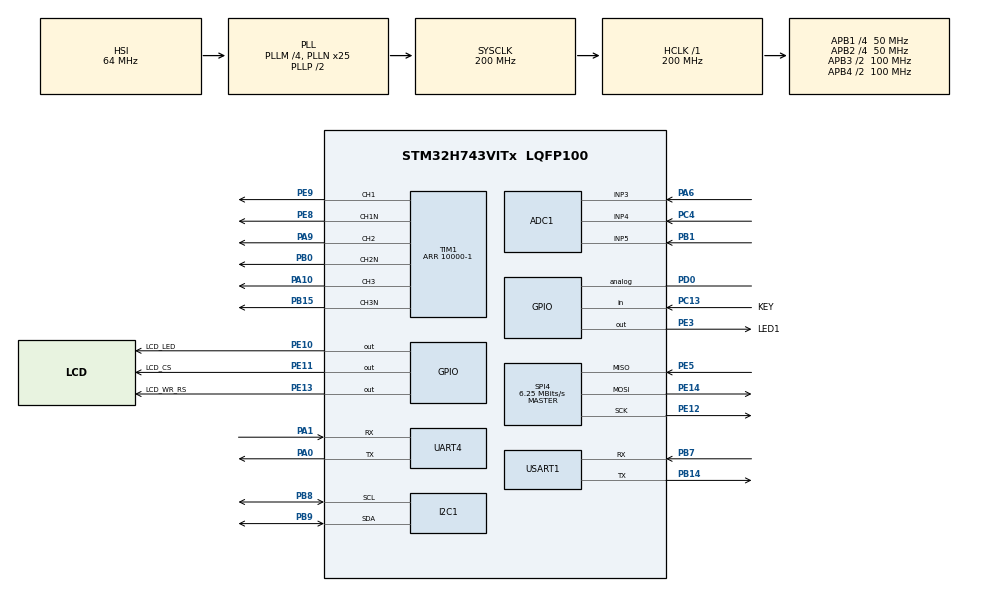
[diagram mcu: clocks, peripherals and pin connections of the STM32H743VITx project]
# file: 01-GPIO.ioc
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ADC1.Channel-0\#ChannelRegularConversion=ADC_CHANNEL_3
ADC1.Channel-1\#ChannelRegularConversion=ADC_CHANNEL_4
ADC1.Channel-2\#ChannelRegularConversion=ADC_CHANNEL_5
ADC1.ContinuousConvMode=ENABLE
ADC1.ExternalTrigConv=ADC_SOFTWARE_START
ADC1.NbrOfConversion=3
ADC1.NbrOfConversionFlag=1
ADC1.OffsetNumber-0\#ChannelRegularConversion=ADC_OFFSET_NONE
ADC1.OffsetNumber-1\#ChannelRegularConversion=ADC_OFFSET_NONE
ADC1.OffsetNumber-2\#ChannelRegularConversion=ADC_OFFSET_NONE
ADC1.OffsetSignedSaturation-0\#ChannelRegularConversion=DISABLE
ADC1.OffsetSignedSaturation-1\#ChannelRegularConversion=DISABLE
ADC1.OffsetSignedSaturation-2\#ChannelRegularConversion=DISABLE
ADC1.Rank-0\#ChannelRegularConversion=1
ADC1.Rank-1\#ChannelRegularConversion=2
ADC1.Rank-2\#ChannelRegularConversion=3
ADC1.SamplingTime-0\#ChannelRegularConversion=ADC_SAMPLETIME_1CYCLE_5
ADC1.SamplingTime-1\#ChannelRegularConversion=ADC_SAMPLETIME_1CYCLE_5
ADC1.SamplingTime-2\#ChannelRegularConversion=ADC_SAMPLETIME_1CYCLE_5
ADC1.master=1
CORTEX_M7.CPU_DCache=Enabled
CORTEX_M7.CPU_ICache=Enabled
I2C1.CustomTiming=Enabled
I2C1.Timing=0x40000A0B
Mcu.Family=STM32H7
Mcu.Name=STM32H743VITx
Mcu.Package=LQFP100
NVIC.PriorityGroup=NVIC_PRIORITYGROUP_4
PA0.Mode=Asynchronous
PA0.Signal=UART4_TX
PA1.Mode=Asynchronous
PA1.Signal=UART4_RX
PA10.Signal=S_TIM1_CH3
PA13\ (JTMS/SWDIO).Mode=Serial_Wire
PA13\ (JTMS/SWDIO).Signal=DEBUG_JTMS-SWDIO
PA14\ (JTCK/SWCLK).Mode=Serial_Wire
PA14\ (JTCK/SWCLK).Signal=DEBUG_JTCK-SWCLK
PA6.Signal=ADCx_INP3
PA9.Signal=S_TIM1_CH2
PB0.Mode=PWM Generation2 CH2 CH2N
PB0.Signal=TIM1_CH2N
PB1.Signal=ADCx_INP5
PB14.Mode=Asynchronous
PB14.Signal=USART1_TX
PB15.Mode=PWM Generation3 CH3 CH3N
PB15.Signal=TIM1_CH3N
PB7.Mode=Asynchronous
PB7.Signal=USART1_RX
PB8.Mode=I2C
PB8.Signal=I2C1_SCL
PB9.Mode=I2C
PB9.Signal=I2C1_SDA
PC13.GPIO_Label=KEY
PC13.GPIO_PuPd=GPIO_PULLDOWN
PC13.Signal=GPIO_Input
PC14-OSC32_IN\ (OSC32_IN).Mode=LSE-External-Oscillator
PC14-OSC32_IN\ (OSC32_IN).Signal=RCC_OSC32_IN
PC15-OSC32_OUT\ (OSC32_OUT).Mode=LSE-External-Oscillator
PC15-OSC32_OUT\ (OSC32_OUT).Signal=RCC_OSC32_OUT
PC4.Signal=ADCx_INP4
PD0.Signal=GPIO_Analog
PE10.GPIO_Label=LCD_LED
PE10.Signal=GPIO_Output
PE11.GPIO_Label=LCD_CS
PE11.GPIO_Speed=GPIO_SPEED_FREQ_VERY_HIGH
PE11.Signal=GPIO_Output
PE12.Mode=Full_Duplex_Master
PE12.Signal=SPI4_SCK
PE13.GPIO_Label=LCD_WR_RS
PE13.GPIO_Speed=GPIO_SPEED_FREQ_VERY_HIGH
PE13.Signal=GPIO_Output
PE14.Mode=Full_Duplex_Master
PE14.Signal=SPI4_MOSI
PE3.GPIO_Label=LED1
PE3.Signal=GPIO_Output
PE5.Mode=Full_Duplex_Master
PE5.Signal=SPI4_MISO
PE8.Mode=PWM Generation1 CH1 CH1N
PE8.Signal=TIM1_CH1N
PE9.Signal=S_TIM1_CH1
PH0-OSC_IN\ (PH0).Mode=HSE-External-Oscillator
PH0-OSC_IN\ (PH0).Signal=RCC_OSC_IN
PH1-OSC_OUT\ (PH1).Mode=HSE-External-Oscillator
PH1-OSC_OUT\ (PH1).Signal=RCC_OSC_OUT
ProjectManager.HeapSize=0x800
ProjectManager.StackSize=0x1600
ProjectManager.TargetToolchain=MDK-ARM V5.32
RCC.ADCFreq_Value=80000000
RCC.APB1Freq_Value=50000000
RCC.APB2Freq_Value=50000000
RCC.APB3Freq_Value=100000000
RCC.APB4Freq_Value=100000000
RCC.CortexFreq_Value=200000000
RCC.D1PPRE=RCC_APB3_DIV2
RCC.D2PPRE1=RCC_APB1_DIV4
RCC.D2PPRE2=RCC_APB2_DIV4
RCC.D3PPRE=RCC_APB4_DIV2
RCC.DIVM1=4
RCC.DIVM2=4
RCC.DIVN1=25
RCC.DIVN2=10
RCC.HCLKFreq_Value=200000000
RCC.HSE_VALUE=24000000
RCC.PLL2FRACN=0
RCC.PLLFRACN=0
RCC.SYSCLKFreq_VALUE=200000000
RCC.SYSCLKSource=RCC_SYSCLKSOURCE_PLLCLK
RCC.SupplySource=PWR_LDO_SUPPLY
RCC.USBFreq_Value=200000000
SH.ADCx_INP3.0=ADC1_INP3,IN3-Single-Ended
SH.ADCx_INP4.0=ADC1_INP4,IN4-Single-Ended
SH.ADCx_INP5.0=ADC1_INP5,IN5-Single-Ended
SH.S_TIM1_CH1.0=TIM1_CH1,PWM Generation1 CH1 CH1N
SH.S_TIM1_CH2.0=TIM1_CH2,PWM Generation2 CH2 CH2N
SH.S_TIM1_CH3.0=TIM1_CH3,PWM Generation3 CH3 CH3N
SPI4.BaudRatePrescaler=SPI_BAUDRATEPRESCALER_8
SPI4.CalculateBaudRate=6.25 MBits/s
SPI4.DataSize=SPI_DATASIZE_8BIT
SPI4.Direction=SPI_DIRECTION_2LINES
SPI4.Mode=SPI_MODE_MASTER
SPI4.VirtualType=VM_MASTER
TIM1.AutoReloadPreload=TIM_AUTORELOAD_PRELOAD_ENABLE
TIM1.Channel-PWM\ Generation1\ CH1\ CH1N=TIM_CHANNEL_1
TIM1.Channel-PWM\ Generation2\ CH2\ CH2N=TIM_CHANNEL_2
TIM1.Channel-PWM\ Generation3\ CH3\ CH3N=TIM_CHANNEL_3
TIM1.Channel-PWM\ Generation4\ No\ Output=TIM_CHANNEL_4
TIM1.CounterMode=TIM_COUNTERMODE_CENTERALIGNED1
TIM1.DeadTime=50
TIM1.LockLevel=TIM_LOCKLEVEL_1
TIM1.OffStateIDLEMode=TIM_OSSI_ENABLE
TIM1.OffStateRunMode=TIM_OSSR_ENABLE
TIM1.Period=10000-1
TIM1.TIM_MasterOutputTrigger=TIM_TRGO_OC4REF
USART1.VirtualMode-Asynchronous=VM_ASYNC
VP_MEMORYMAP_VS_MEMORYMAP.Mode=CurAppReg
VP_RNG_VS_RNG.Mode=RNG_Activate
VP_TIM1_VS_ClockSourceINT.Mode=Internal
VP_TIM1_VS_no_output4.Mode=PWM Generation4 No Output
VP_TIM2_VS_ClockSourceINT.Mode=Internal
board=custom

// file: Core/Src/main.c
/* USER CODE BEGIN Header */
/**
  ******************************************************************************
  * @file           : main.c
  * @brief          : Main program body
  ******************************************************************************
  * @attention
  *
  * <h2><center>&copy; Copyright (c) 2020 STMicroelectronics.
  * All rights reserved.</center></h2>
  *
  * This software component is licensed by ST under BSD 3-Clause license,
  * the "License"; You may not use this file except in compliance with the
  * License. You may obtain a copy of the License at:
  *                        opensource.org/licenses/BSD-3-Clause
  *
  ******************************************************************************
  */
/* USER CODE END Header */
#include "main.h"
#include "adc.h"
#include "i2c.h"
#include "rng.h"
#include "spi.h"
#include "tim.h"
#include "usart.h"
#include "gpio.h"

/* USER CODE BEGIN Includes */
#include "bsp_as5600.h"
#include "stm32h7xx_hal.h"
#include "lcd.h"
/* USER CODE END Includes */

/* USER CODE BEGIN PM */
uint32_t pwm_compare = 2000;
/* USER CODE END PM */

/* USER CODE BEGIN PV */
uint32_t	angle_raw;
uint32_t angle;
/* USER CODE END PV */

void SystemClock_Config(void);

/* USER CODE BEGIN 0 */
static void MPU_Config(void)
{
  MPU_Region_InitTypeDef MPU_InitStruct = {0};

  /* Disables the MPU */
  HAL_MPU_Disable();

	/* Configure the MPU attributes for the QSPI 256MB without instruction access */
  MPU_InitStruct.Enable           = MPU_REGION_ENABLE;
	MPU_InitStruct.Number           = MPU_REGION_NUMBER0;
  MPU_InitStruct.BaseAddress      = QSPI_BASE;
  MPU_InitStruct.Size             = MPU_REGION_SIZE_256MB;
  MPU_InitStruct.AccessPermission = MPU_REGION_NO_ACCESS;
  MPU_InitStruct.IsBufferable     = MPU_ACCESS_NOT_BUFFERABLE;
  MPU_InitStruct.IsCacheable      = MPU_ACCESS_NOT_CACHEABLE;
  MPU_InitStruct.IsShareable      = MPU_ACCESS_NOT_SHAREABLE;
	MPU_InitStruct.DisableExec      = MPU_INSTRUCTION_ACCESS_DISABLE;
  MPU_InitStruct.TypeExtField     = MPU_TEX_LEVEL1;
  MPU_InitStruct.SubRegionDisable = 0x00;
  HAL_MPU_ConfigRegion(&MPU_InitStruct);

  /* Configure the MPU attributes for the QSPI 8MB (QSPI Flash Size) to Cacheable WT */
  MPU_InitStruct.Enable           = MPU_REGION_ENABLE;
	MPU_InitStruct.Number           = MPU_REGION_NUMBER1;
  MPU_InitStruct.BaseAddress      = QSPI_BASE;
  MPU_InitStruct.Size             = MPU_REGION_SIZE_8MB;
  MPU_InitStruct.AccessPermission = MPU_REGION_PRIV_RO;
  MPU_InitStruct.IsBufferable     = MPU_ACCESS_BUFFERABLE;
  MPU_InitStruct.IsCacheable      = MPU_ACCESS_CACHEABLE;
  MPU_InitStruct.IsShareable      = MPU_ACCESS_NOT_SHAREABLE;
	MPU_InitStruct.DisableExec      = MPU_INSTRUCTION_ACCESS_ENABLE;
  MPU_InitStruct.TypeExtField     = MPU_TEX_LEVEL1;
  MPU_InitStruct.SubRegionDisable = 0x00;
  HAL_MPU_ConfigRegion(&MPU_InitStruct);

  /* Enables the MPU */
  HAL_MPU_Enable(MPU_PRIVILEGED_DEFAULT);
}

static void CPU_CACHE_Enable(void)
{
  /* Enable I-Cache */
  SCB_EnableICache();

  /* Enable D-Cache */
  SCB_EnableDCache();
}

/* USER CODE END 0 */

int main(void)
{

  /* USER CODE BEGIN 1 */

	#ifdef W25Qxx
		SCB->VTOR = QSPI_BASE;
	#endif
	MPU_Config();
	CPU_CACHE_Enable();

  /* USER CODE END 1 */

  /* Enable the CPU Cache */

  /* Enable I-Cache---------------------------------------------------------*/
  SCB_EnableICache();

  /* Enable D-Cache---------------------------------------------------------*/
  SCB_EnableDCache();

  /* MCU Configuration--------------------------------------------------------*/

  /* Reset of all peripherals, Initializes the Flash interface and the Systick. */
  HAL_Init();

  /* Configure the system clock */
  SystemClock_Config();

  /* Initialize all configured peripherals */
  MX_GPIO_Init();
  MX_RNG_Init();
  MX_ADC1_Init();
  MX_I2C1_Init();
  MX_SPI4_Init();
  MX_TIM1_Init();
  MX_UART4_Init();
  MX_USART1_UART_Init();
  MX_TIM2_Init();
  /* USER CODE BEGIN 2 */
	uint32_t rng;
	bsp_as5600Init();
	LCD_Test();
     HAL_TIM_PWM_Start(&htim1, TIM_CHANNEL_1);
      HAL_TIM_PWM_Start(&htim1, TIM_CHANNEL_2);
			 HAL_TIM_PWM_Start(&htim1, TIM_CHANNEL_3);
       HAL_TIMEx_PWMN_Start(&htim1, TIM_CHANNEL_1);
       HAL_TIMEx_PWMN_Start(&htim1, TIM_CHANNEL_2);
        HAL_TIMEx_PWMN_Start(&htim1, TIM_CHANNEL_3);

  /* USER CODE END 2 */

  /* Infinite loop */
  while (1)
  {

    /* USER CODE BEGIN 3 */
		uint8_t text[20];
		HAL_RNG_GenerateRandomNumber(&hrng,&rng);
		//*(uint32_t*)0x10000000=rng;

		angle_raw = bsp_as5600GetRawAngle();
    angle = bsp_as5600GetAngle();
//		uint8_t data[2];
//		HAL_StatusTypeDef status = HAL_I2C_Master_Receive(&AS5600_I2C_HANDLE, 0x36<<1, data, 2, 10);
		//HAL_GPIO_TogglePin(LED1_GPIO_Port,LED1_Pin);
		//HAL_GPIO_WritePin(LCD_LED_GPIO_Port,LCD_LED_Pin,GPIO_PIN_SET);
		//HAL_GPIO_TogglePin(LCD_LED_GPIO_Port,LCD_LED_Pin);
		sprintf((char *)&text, "angle=%5u",angle_raw);
		LCD_ShowString(4, 4, ST7735Ctx.Width, 16, 16, text);

	  HAL_ADC_Start(&hadc1);
    HAL_ADC_PollForConversion(&hadc1, 50);
    uint32_t adc_value = HAL_ADC_GetValue(&hadc1);
		HAL_ADC_Stop(&hadc1);
		float voltage = (float)adc_value *5.03547e-5;
    sprintf((char *)&text, "ADC=%.6fV", voltage);
    LCD_ShowString(4, 22, ST7735Ctx.Width, 16, 16, text);

	HAL_Delay(10);

     __HAL_TIM_SetCompare(&htim1, TIM_CHANNEL_1,pwm_compare);
     __HAL_TIM_SetCompare(&htim1, TIM_CHANNEL_2,pwm_compare);
//__HAL_TIM_SetCompare(&htim1, TIM_CHANNEL_3,pwm_compare);
    // HAL_TIM_PWM_Start(&htim2, TIM_CHANNEL_1);

  }
  /* USER CODE END 3 */
}

void SystemClock_Config(void)
{
  RCC_OscInitTypeDef RCC_OscInitStruct = {0};
  RCC_ClkInitTypeDef RCC_ClkInitStruct = {0};

  /** Supply configuration update enable
  */
  HAL_PWREx_ConfigSupply(PWR_LDO_SUPPLY);

  /** Configure the main internal regulator output voltage
  */
  __HAL_PWR_VOLTAGESCALING_CONFIG(PWR_REGULATOR_VOLTAGE_SCALE3);

  while(!__HAL_PWR_GET_FLAG(PWR_FLAG_VOSRDY)) {}

  /** Initializes the RCC Oscillators according to the specified parameters
  * in the RCC_OscInitTypeDef structure.
  */
  RCC_OscInitStruct.OscillatorType = RCC_OSCILLATORTYPE_HSI48|RCC_OSCILLATORTYPE_HSI;
  RCC_OscInitStruct.HSIState = RCC_HSI_DIV1;
  RCC_OscInitStruct.HSICalibrationValue = RCC_HSICALIBRATION_DEFAULT;
  RCC_OscInitStruct.HSI48State = RCC_HSI48_ON;
  RCC_OscInitStruct.PLL.PLLState = RCC_PLL_ON;
  RCC_OscInitStruct.PLL.PLLSource = RCC_PLLSOURCE_HSI;
  RCC_OscInitStruct.PLL.PLLM = 4;
  RCC_OscInitStruct.PLL.PLLN = 25;
  RCC_OscInitStruct.PLL.PLLP = 2;
  RCC_OscInitStruct.PLL.PLLQ = 2;
  RCC_OscInitStruct.PLL.PLLR = 2;
  RCC_OscInitStruct.PLL.PLLRGE = RCC_PLL1VCIRANGE_3;
  RCC_OscInitStruct.PLL.PLLVCOSEL = RCC_PLL1VCOWIDE;
  RCC_OscInitStruct.PLL.PLLFRACN = 0;
  if (HAL_RCC_OscConfig(&RCC_OscInitStruct) != HAL_OK)
  {
    Error_Handler();
  }

  /** Initializes the CPU, AHB and APB buses clocks
  */
  RCC_ClkInitStruct.ClockType = RCC_CLOCKTYPE_HCLK|RCC_CLOCKTYPE_SYSCLK
                              |RCC_CLOCKTYPE_PCLK1|RCC_CLOCKTYPE_PCLK2
                              |RCC_CLOCKTYPE_D3PCLK1|RCC_CLOCKTYPE_D1PCLK1;
  RCC_ClkInitStruct.SYSCLKSource = RCC_SYSCLKSOURCE_PLLCLK;
  RCC_ClkInitStruct.SYSCLKDivider = RCC_SYSCLK_DIV1;
  RCC_ClkInitStruct.AHBCLKDivider = RCC_HCLK_DIV1;
  RCC_ClkInitStruct.APB3CLKDivider = RCC_APB3_DIV2;
  RCC_ClkInitStruct.APB1CLKDivider = RCC_APB1_DIV4;
  RCC_ClkInitStruct.APB2CLKDivider = RCC_APB2_DIV4;
  RCC_ClkInitStruct.APB4CLKDivider = RCC_APB4_DIV2;

  if (HAL_RCC_ClockConfig(&RCC_ClkInitStruct, FLASH_LATENCY_4) != HAL_OK)
  {
    Error_Handler();
  }
}

void Error_Handler(void)
{
}
